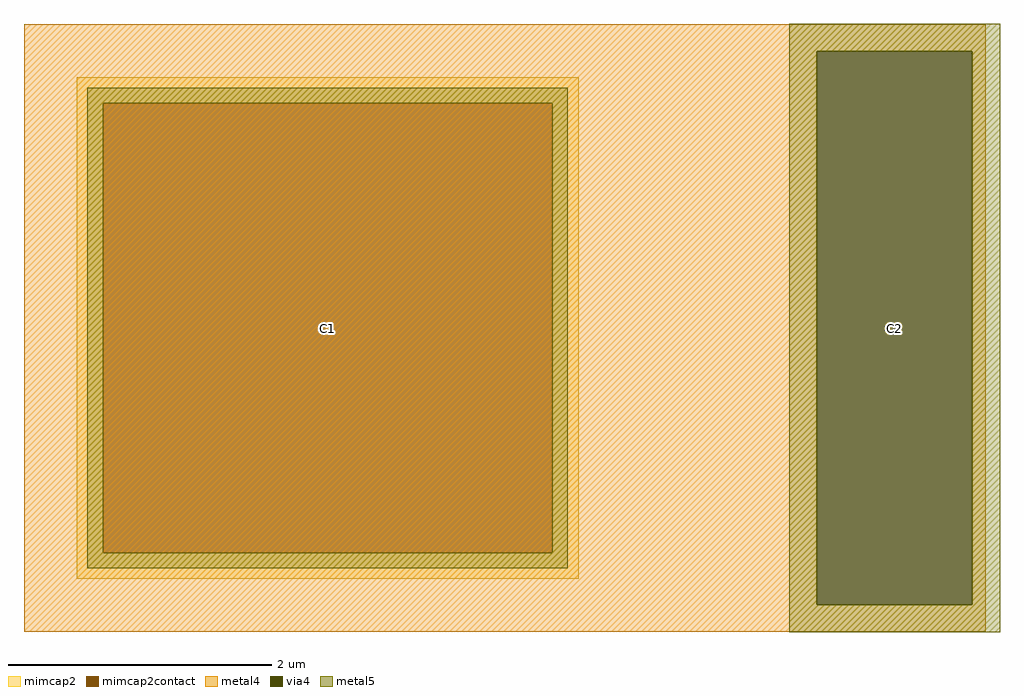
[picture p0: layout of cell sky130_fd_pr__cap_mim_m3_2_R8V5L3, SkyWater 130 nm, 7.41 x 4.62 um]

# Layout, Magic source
magic
tech sky130A
magscale 1 2
<< metal4 >>
rect -730 420 730 461
rect -730 -420 474 420
rect 710 -420 730 420
rect -730 -461 730 -420
<< via4 >>
rect 474 -420 710 420
<< mimcap2 >>
rect -650 341 112 381
rect -650 -341 -610 341
rect 72 -341 112 341
rect -650 -381 112 -341
<< mimcap2contact >>
rect -610 -341 72 341
<< metal5 >>
rect 432 420 752 462
rect -634 341 96 365
rect -634 -341 -610 341
rect 72 -341 96 341
rect -634 -365 96 -341
rect 432 -420 474 420
rect 710 -420 752 420
rect 432 -462 752 -420
<< labels >>
rlabel via4 592 0 592 0 0 C2
port 1 nsew
rlabel mimcap2contact -269 0 -269 0 0 C1
port 2 nsew
<< properties >>
string FIXED_BBOX -730 -461 192 461
string gencell sky130_fd_pr__cap_mim_m3_2
string library sky130
string parameters w 3.814 l 3.814 val 32.0 carea 2.00 cperi 0.19 class capacitor nx 1 ny 1 dummy 0 square 1 lmin 2.00 wmin 2.00 lmax 30.0 wmax 30.0 dc 0 bconnect 1 tconnect 1 ccov 100 doports 1
<< end >>
